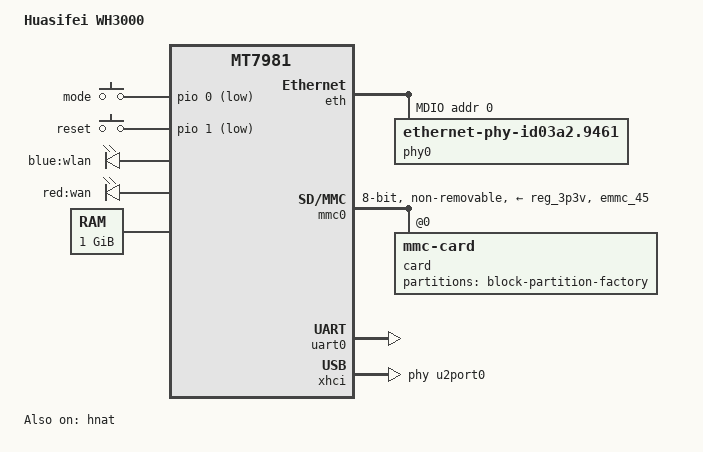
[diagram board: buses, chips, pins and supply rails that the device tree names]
// SPDX-License-Identifier: GPL-2.0-or-later OR MIT
/dts-v1/;

#include "mt7981.dtsi"

/ {
	model = "Huasifei WH3000";
	compatible = "huasifei,wh3000-emmc", "mediatek,mt7981";

	aliases {
		serial0 = &uart0;
		led-boot = "/gpio-leds/led-0";
		led-failsafe = "/gpio-leds/led-0";
		led-upgrade = "/gpio-leds/led-0";
	};

	chosen {
		bootargs = "root=PARTLABEL=rootfs rootwait";
		stdout-path = "serial0:115200n8";
	};

	gpio-keys {
		compatible = "gpio-keys";

		button-mode {
			label = "mode";
			linux,code = <BTN_0>;
			linux,input-type = <EV_SW>;
			gpios = <&pio 0 GPIO_ACTIVE_LOW>;
			debounce-interval = <60>;
		};

		button-reset {
			label = "reset";
			linux,code = <KEY_RESTART>;
			gpios = <&pio 1 GPIO_ACTIVE_LOW>;
		};
	};

	gpio-leds {
		compatible = "gpio-leds";

		led-0 {
			label = "blue:wlan";
			gpios = <0x0c 0x0a 0x01>;
		};

		led-1 {
			label = "red:wan";
			gpios = <0x0c 0x0b 0x01>;
		};
	};

	memory@40000000 {
		reg = <0 0x40000000 0 0x40000000>;
	};
};

&eth {
	status = "okay";

	gmac0: mac@0 {
		compatible = "mediatek,eth-mac";
		reg = <0>;
		nvmem-cells = <&macaddr_factory_4 2>;
		nvmem-cell-names = "mac-address";
		phy-mode = "2500base-x";
		ext-phy-reg = <1>;
 		ext-phy-reset-gpios = <&pio 39 0>;
		fixed-link {
			speed = <2500>;
			full-duplex;
			pause;
		};
	};

	gmac1: mac@1 {
		compatible = "mediatek,eth-mac";
		reg = <1>;
		nvmem-cells = <&macaddr_factory_4 3>;
		nvmem-cell-names = "mac-address";
		phy-mode = "gmii";
		fixed-link {
			speed = <1000>;
			phy-handle = <&phy0>;
			full-duplex;
			pause;
		};
	};

	mdio: mdio-bus {
		#address-cells = <1>;
		#size-cells = <0>;

		phy0: phy@0 {
			compatible = "ethernet-phy-id03a2.9461";
			reg = <0>;
			nvmem-cells = <&phy_calibration>;
			nvmem-cell-names = "phy-cal-data";
		};
	};
};

&hnat {
	mtketh-wan = "eth1";
	mtketh-lan = "eth0";
	mtketh-ppd = "eth0";
	mtketh-max-gmac = <2>;
	mtketh-ppe-num = <2>;
	status = "okay";
};

&mmc0 {
	bus-width = <8>;
	cap-mmc-highspeed;
	max-frequency = <52000000>;
	no-sd;
	no-sdio;
	non-removable;
	pinctrl-names = "default", "state_uhs";
	pinctrl-0 = <&mmc0_pins_default>;
	pinctrl-1 = <&mmc0_pins_uhs>;
	vmmc-supply = <&reg_3p3v>;
	status = "okay";

	card@0 {
		compatible = "mmc-card";
		reg = <0>;

		block {
			compatible = "block-device";

			partitions {
				block-partition-factory {
					partname = "factory";

					nvmem-layout {
						compatible = "fixed-layout";
						#address-cells = <1>;
						#size-cells = <1>;

						eeprom_factory_0: eeprom@0 {
							reg = <0x0 0x1000>;
						};

						macaddr_factory_4: macaddr@4 {
							compatible = "mac-base";
							reg = <0x4 0x6>;
							#nvmem-cell-cells = <1>;
						};
					};
				};
			};
		};
	};
};

&pio {
	mmc0_pins_default: mmc0-pins-default {
		mux {
			function = "flash";
			groups = "emmc_45";
		};
	};

	mmc0_pins_uhs: mmc0-pins-uhs {
		mux {
			function = "flash";
			groups = "emmc_45";
		};
	};
};

&uart0 {
	status = "okay";
};

&xhci {
	mediatek,u3p-dis-msk = <0x0>;
	phys = <&u2port0 PHY_TYPE_USB2>,
		   <&u3port0 PHY_TYPE_USB3>;
	status = "okay";
};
